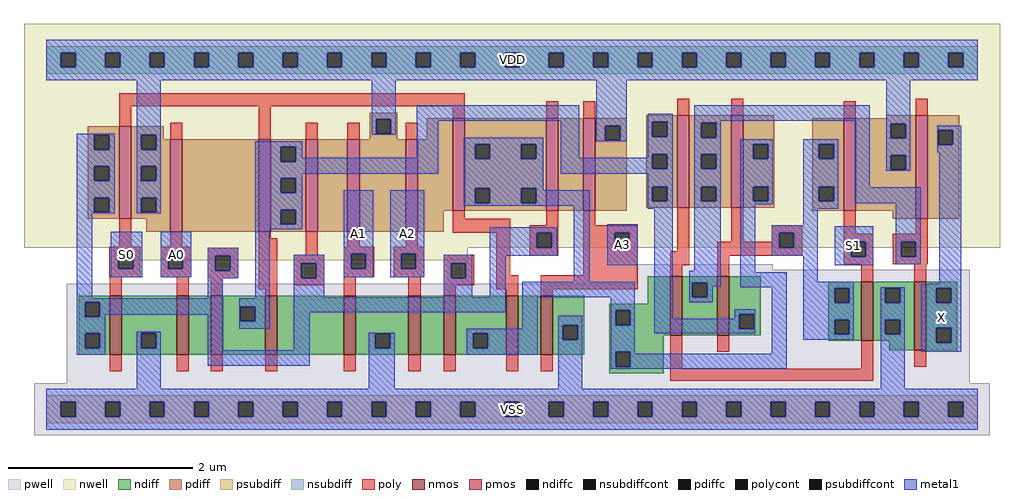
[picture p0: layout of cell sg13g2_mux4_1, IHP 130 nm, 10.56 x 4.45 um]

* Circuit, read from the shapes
.subckt sg13g2_mux4_1 X A1 A2 S0 VDD VSS S1 A0 A3
XM1 VSS S0 n1 VSS sg13_lv_nmos w=0.64u l=0.13u
XM2 n2 A0 VSS VSS sg13_lv_nmos w=0.64u l=0.13u
XM3 n3 n1 n2 VSS sg13_lv_nmos w=0.64u l=0.13u
XM4 n4 S0 n3 VSS sg13_lv_nmos w=0.64u l=0.13u
XM5 VSS A1 n4 VSS sg13_lv_nmos w=0.64u l=0.13u
XM6 n5 A2 VSS VSS sg13_lv_nmos w=0.64u l=0.13u
XM7 n6 n1 n5 VSS sg13_lv_nmos w=0.64u l=0.13u
XM8 n7 S0 n6 VSS sg13_lv_nmos w=0.64u l=0.13u
XM9 VSS A3 n7 VSS sg13_lv_nmos w=0.64u l=0.13u
XM10 n8 S1 n6 VSS sg13_lv_nmos w=0.64u l=0.13u
XM11 n3 n9 n8 VSS sg13_lv_nmos w=0.64u l=0.13u
XM12 VSS S1 n9 VSS sg13_lv_nmos w=0.64u l=0.13u
XM13 X n8 VSS VSS sg13_lv_nmos w=0.74u l=0.13u
XM14 VDD S0 n1 VDD sg13_lv_pmos w=1u l=0.13u
XM15 n10 A0 VDD VDD sg13_lv_pmos w=1u l=0.13u
XM16 n3 S0 n10 VDD sg13_lv_pmos w=1u l=0.13u
XM17 n11 n1 n3 VDD sg13_lv_pmos w=1u l=0.13u
XM18 VDD A1 n11 VDD sg13_lv_pmos w=1u l=0.13u
XM19 n12 A2 VDD VDD sg13_lv_pmos w=1u l=0.13u
XM20 n6 S0 n12 VDD sg13_lv_pmos w=1u l=0.13u
XM21 n13 n1 n6 VDD sg13_lv_pmos w=1u l=0.13u
XM22 VDD A3 n13 VDD sg13_lv_pmos w=1u l=0.13u
XM23 n8 S1 n3 VDD sg13_lv_pmos w=1u l=0.13u
XM24 n6 n9 n8 VDD sg13_lv_pmos w=1u l=0.13u
XM25 VDD S1 n9 VDD sg13_lv_pmos w=1u l=0.13u
XM26 X n8 VDD VDD sg13_lv_pmos w=1.12u l=0.13u
.ends

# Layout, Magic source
magic
tech ihp-sg13g2
<< nwell >>
rect -24 175 1032 417
rect 74 161 456 175
<< pwell >>
rect 638 151 786 157
rect 638 136 999 151
rect 22 28 999 136
rect -13 -28 1021 28
<< nmos >>
rect 69 59 82 123
rect 141 59 154 123
rect 178 59 191 123
rect 237 59 250 123
rect 322 59 335 123
rect 392 59 405 123
rect 430 59 443 123
rect 498 59 511 123
rect 535 59 548 123
rect 675 80 688 144
rect 726 80 739 144
rect 882 74 895 138
rect 939 64 952 138
<< pmos >>
rect 79 206 92 306
rect 134 192 147 292
rect 230 192 243 292
rect 281 192 294 292
rect 326 192 339 292
rect 389 192 402 292
rect 440 215 453 315
rect 541 215 554 315
rect 581 215 594 315
rect 683 218 696 318
rect 741 218 754 318
rect 863 215 876 315
rect 941 206 954 318
<< ndiff >>
rect 35 116 69 123
rect 35 100 42 116
rect 58 100 69 116
rect 35 82 69 100
rect 35 66 42 82
rect 58 66 69 82
rect 35 59 69 66
rect 82 82 141 123
rect 82 66 103 82
rect 119 66 141 82
rect 82 59 141 66
rect 154 59 178 123
rect 191 111 237 123
rect 191 95 210 111
rect 226 95 237 111
rect 191 59 237 95
rect 250 59 322 123
rect 335 82 392 123
rect 335 66 356 82
rect 372 66 392 82
rect 335 59 392 66
rect 405 59 430 123
rect 443 82 498 123
rect 443 66 462 82
rect 478 66 498 82
rect 443 59 498 66
rect 511 59 535 123
rect 548 91 582 123
rect 651 114 675 144
rect 548 75 559 91
rect 575 75 582 91
rect 548 59 582 75
rect 609 107 675 114
rect 609 91 616 107
rect 632 91 675 107
rect 609 80 675 91
rect 688 137 726 144
rect 688 121 699 137
rect 715 121 726 137
rect 688 80 726 121
rect 739 103 773 144
rect 739 87 750 103
rect 766 87 773 103
rect 739 80 773 87
rect 846 131 882 138
rect 846 115 853 131
rect 869 115 882 131
rect 846 97 882 115
rect 846 81 853 97
rect 869 81 882 97
rect 609 62 668 80
rect 609 46 616 62
rect 632 46 668 62
rect 609 39 668 46
rect 846 74 882 81
rect 895 131 939 138
rect 895 115 908 131
rect 924 115 939 131
rect 895 97 939 115
rect 895 81 908 97
rect 924 81 939 97
rect 895 74 939 81
rect 912 64 939 74
rect 952 131 986 138
rect 952 115 963 131
rect 979 115 986 131
rect 952 88 986 115
rect 952 72 963 88
rect 979 72 986 88
rect 952 64 986 72
<< pdiff >>
rect 45 297 79 306
rect 45 281 52 297
rect 68 281 79 297
rect 45 263 79 281
rect 45 247 52 263
rect 68 247 79 263
rect 45 229 79 247
rect 45 213 52 229
rect 68 213 79 229
rect 45 206 79 213
rect 92 297 127 306
rect 92 281 103 297
rect 119 292 127 297
rect 350 314 380 321
rect 350 298 357 314
rect 373 298 380 314
rect 350 292 380 298
rect 412 292 440 315
rect 119 281 134 292
rect 92 263 134 281
rect 92 247 103 263
rect 119 247 134 263
rect 92 229 134 247
rect 92 213 103 229
rect 119 213 134 229
rect 92 206 134 213
rect 108 192 134 206
rect 147 192 230 292
rect 243 284 281 292
rect 243 268 254 284
rect 270 268 281 284
rect 243 250 281 268
rect 243 234 254 250
rect 270 234 281 250
rect 243 216 281 234
rect 243 200 254 216
rect 270 200 281 216
rect 243 192 281 200
rect 294 192 326 292
rect 339 192 389 292
rect 402 215 440 292
rect 453 287 541 315
rect 453 271 464 287
rect 480 271 514 287
rect 530 271 541 287
rect 453 239 541 271
rect 453 223 464 239
rect 480 223 514 239
rect 530 223 541 239
rect 453 215 541 223
rect 554 215 581 315
rect 594 307 628 315
rect 594 291 605 307
rect 621 291 628 307
rect 594 215 628 291
rect 649 311 683 318
rect 649 295 656 311
rect 672 295 683 311
rect 649 276 683 295
rect 649 260 656 276
rect 672 260 683 276
rect 649 241 683 260
rect 649 225 656 241
rect 672 225 683 241
rect 649 218 683 225
rect 696 310 741 318
rect 696 294 709 310
rect 725 294 741 310
rect 696 276 741 294
rect 696 260 709 276
rect 725 260 741 276
rect 696 241 741 260
rect 696 225 709 241
rect 725 225 741 241
rect 696 218 741 225
rect 754 287 788 318
rect 909 315 941 318
rect 754 271 765 287
rect 781 271 788 287
rect 754 241 788 271
rect 754 225 765 241
rect 781 225 788 241
rect 754 218 788 225
rect 829 287 863 315
rect 829 271 836 287
rect 852 271 863 287
rect 829 241 863 271
rect 829 225 836 241
rect 852 225 863 241
rect 402 192 430 215
rect 829 215 863 225
rect 876 309 941 315
rect 876 293 914 309
rect 930 293 941 309
rect 876 275 941 293
rect 876 259 914 275
rect 930 259 941 275
rect 876 215 941 259
rect 916 206 941 215
rect 954 302 988 318
rect 954 286 965 302
rect 981 286 988 302
rect 954 206 988 286
<< ndiffc >>
rect 42 100 58 116
rect 42 66 58 82
rect 103 66 119 82
rect 210 95 226 111
rect 356 66 372 82
rect 462 66 478 82
rect 559 75 575 91
rect 616 91 632 107
rect 699 121 715 137
rect 750 87 766 103
rect 853 115 869 131
rect 853 81 869 97
rect 616 46 632 62
rect 908 115 924 131
rect 908 81 924 97
rect 963 115 979 131
rect 963 72 979 88
<< pdiffc >>
rect 52 281 68 297
rect 52 247 68 263
rect 52 213 68 229
rect 103 281 119 297
rect 357 298 373 314
rect 103 247 119 263
rect 103 213 119 229
rect 254 268 270 284
rect 254 234 270 250
rect 254 200 270 216
rect 464 271 480 287
rect 514 271 530 287
rect 464 223 480 239
rect 514 223 530 239
rect 605 291 621 307
rect 656 295 672 311
rect 656 260 672 276
rect 656 225 672 241
rect 709 294 725 310
rect 709 260 725 276
rect 709 225 725 241
rect 765 271 781 287
rect 765 225 781 241
rect 836 271 852 287
rect 836 225 852 241
rect 914 293 930 309
rect 914 259 930 275
rect 965 286 981 302
<< psubdiff >>
rect 0 8 1008 15
rect 0 -8 16 8
rect 32 -8 64 8
rect 80 -8 112 8
rect 128 -8 160 8
rect 176 -8 208 8
rect 224 -8 256 8
rect 272 -8 304 8
rect 320 -8 352 8
rect 368 -8 400 8
rect 416 -8 448 8
rect 464 -8 496 8
rect 512 -8 544 8
rect 560 -8 592 8
rect 608 -8 640 8
rect 656 -8 688 8
rect 704 -8 736 8
rect 752 -8 784 8
rect 800 -8 832 8
rect 848 -8 880 8
rect 896 -8 928 8
rect 944 -8 976 8
rect 992 -8 1008 8
rect 0 -15 1008 -8
<< nsubdiff >>
rect 0 386 1008 393
rect 0 370 16 386
rect 32 370 64 386
rect 80 370 112 386
rect 128 370 160 386
rect 176 370 208 386
rect 224 370 256 386
rect 272 370 304 386
rect 320 370 352 386
rect 368 370 400 386
rect 416 370 448 386
rect 464 370 496 386
rect 512 370 544 386
rect 560 370 592 386
rect 608 370 640 386
rect 656 370 688 386
rect 704 370 736 386
rect 752 370 784 386
rect 800 370 832 386
rect 848 370 880 386
rect 896 370 928 386
rect 944 370 976 386
rect 992 370 1008 386
rect 0 363 1008 370
<< psubdiffcont >>
rect 16 -8 32 8
rect 64 -8 80 8
rect 112 -8 128 8
rect 160 -8 176 8
rect 208 -8 224 8
rect 256 -8 272 8
rect 304 -8 320 8
rect 352 -8 368 8
rect 400 -8 416 8
rect 448 -8 464 8
rect 496 -8 512 8
rect 544 -8 560 8
rect 592 -8 608 8
rect 640 -8 656 8
rect 688 -8 704 8
rect 736 -8 752 8
rect 784 -8 800 8
rect 832 -8 848 8
rect 880 -8 896 8
rect 928 -8 944 8
rect 976 -8 992 8
<< nsubdiffcont >>
rect 16 370 32 386
rect 64 370 80 386
rect 112 370 128 386
rect 160 370 176 386
rect 208 370 224 386
rect 256 370 272 386
rect 304 370 320 386
rect 352 370 368 386
rect 400 370 416 386
rect 448 370 464 386
rect 496 370 512 386
rect 544 370 560 386
rect 592 370 608 386
rect 640 370 656 386
rect 688 370 704 386
rect 736 370 752 386
rect 784 370 800 386
rect 832 370 848 386
rect 880 370 896 386
rect 928 370 944 386
rect 976 370 992 386
<< poly >>
rect 79 328 453 342
rect 79 306 92 328
rect 134 292 147 310
rect 230 292 243 328
rect 440 315 453 328
rect 541 315 554 333
rect 581 315 594 333
rect 683 318 696 336
rect 741 318 754 336
rect 281 292 294 310
rect 326 292 339 310
rect 389 292 402 310
rect 79 176 92 206
rect 863 315 876 333
rect 941 318 954 336
rect 440 206 453 215
rect 134 176 147 192
rect 230 185 243 192
rect 68 168 102 176
rect 68 152 78 168
rect 94 152 102 168
rect 68 143 102 152
rect 124 168 157 176
rect 124 152 132 168
rect 148 152 157 168
rect 124 143 157 152
rect 175 166 208 175
rect 175 150 183 166
rect 199 150 208 166
rect 69 123 82 143
rect 141 123 154 143
rect 175 142 208 150
rect 178 123 191 142
rect 230 130 250 185
rect 281 167 294 192
rect 326 176 339 192
rect 389 176 402 192
rect 440 191 502 206
rect 541 199 554 215
rect 322 168 355 176
rect 268 158 301 167
rect 268 142 276 158
rect 292 142 301 158
rect 268 134 301 142
rect 322 152 330 168
rect 346 152 355 168
rect 322 143 355 152
rect 376 168 409 176
rect 376 152 384 168
rect 400 152 409 168
rect 376 143 409 152
rect 430 158 463 167
rect 237 123 250 130
rect 322 123 335 143
rect 392 123 405 143
rect 430 142 438 158
rect 454 142 463 158
rect 430 134 463 142
rect 487 145 502 191
rect 523 191 554 199
rect 523 175 531 191
rect 547 175 554 191
rect 523 166 554 175
rect 581 199 594 215
rect 581 191 640 199
rect 581 175 615 191
rect 631 175 640 191
rect 581 145 640 175
rect 683 171 696 218
rect 741 181 754 218
rect 785 191 818 199
rect 785 181 793 191
rect 430 123 443 134
rect 487 130 511 145
rect 498 123 511 130
rect 535 130 640 145
rect 675 156 696 171
rect 726 175 793 181
rect 809 175 818 191
rect 726 166 818 175
rect 863 190 876 215
rect 941 190 954 206
rect 863 181 895 190
rect 675 144 688 156
rect 726 144 739 166
rect 863 165 871 181
rect 887 165 895 181
rect 863 157 895 165
rect 916 181 954 190
rect 916 165 925 181
rect 941 165 954 181
rect 916 157 954 165
rect 535 123 548 130
rect 882 138 895 157
rect 939 138 952 157
rect 69 41 82 59
rect 141 41 154 59
rect 178 41 191 59
rect 237 41 250 59
rect 322 41 335 59
rect 392 41 405 59
rect 430 41 443 59
rect 498 41 511 59
rect 535 41 548 59
rect 675 44 688 80
rect 726 62 739 80
rect 882 44 895 74
rect 939 46 952 64
rect 675 31 895 44
<< polycont >>
rect 78 152 94 168
rect 132 152 148 168
rect 183 150 199 166
rect 276 142 292 158
rect 330 152 346 168
rect 384 152 400 168
rect 438 142 454 158
rect 531 175 547 191
rect 615 175 631 191
rect 793 175 809 191
rect 871 165 887 181
rect 925 165 941 181
<< metal1 >>
rect 0 386 1008 400
rect 0 370 16 386
rect 32 370 64 386
rect 80 370 112 386
rect 128 370 160 386
rect 176 370 208 386
rect 224 370 256 386
rect 272 370 304 386
rect 320 370 352 386
rect 368 370 400 386
rect 416 370 448 386
rect 464 370 496 386
rect 512 370 544 386
rect 560 370 592 386
rect 608 370 640 386
rect 656 370 688 386
rect 704 370 736 386
rect 752 370 784 386
rect 800 370 832 386
rect 848 370 880 386
rect 896 370 928 386
rect 944 370 976 386
rect 992 370 1008 386
rect 0 356 1008 370
rect 33 297 74 298
rect 33 281 52 297
rect 68 281 74 297
rect 33 263 74 281
rect 33 247 52 263
rect 68 247 74 263
rect 33 229 74 247
rect 33 213 52 229
rect 68 213 74 229
rect 33 212 74 213
rect 98 297 124 356
rect 352 314 378 356
rect 352 298 357 314
rect 373 298 378 314
rect 352 297 378 298
rect 401 312 577 329
rect 98 281 103 297
rect 119 281 124 297
rect 98 263 124 281
rect 98 247 103 263
rect 119 247 124 263
rect 98 229 124 247
rect 98 213 103 229
rect 119 213 124 229
rect 98 212 124 213
rect 226 284 277 290
rect 226 268 254 284
rect 270 272 277 284
rect 401 272 424 312
rect 270 268 424 272
rect 226 255 424 268
rect 452 287 538 294
rect 452 271 464 287
rect 480 271 514 287
rect 530 271 538 287
rect 226 250 277 255
rect 226 234 254 250
rect 270 234 277 250
rect 452 239 538 271
rect 557 272 577 312
rect 595 307 628 356
rect 595 291 605 307
rect 621 291 628 307
rect 595 290 628 291
rect 651 311 678 320
rect 651 295 656 311
rect 672 295 678 311
rect 651 276 678 295
rect 651 272 656 276
rect 557 260 656 272
rect 672 260 678 276
rect 557 255 678 260
rect 226 216 277 234
rect 33 120 50 212
rect 226 200 254 216
rect 270 200 277 216
rect 226 195 277 200
rect 70 168 104 192
rect 70 152 78 168
rect 94 152 104 168
rect 70 143 104 152
rect 124 168 157 192
rect 124 152 132 168
rect 148 152 157 168
rect 124 143 157 152
rect 175 166 208 175
rect 175 150 183 166
rect 199 150 208 166
rect 175 142 208 150
rect 175 120 191 142
rect 226 120 242 195
rect 322 168 354 237
rect 33 116 191 120
rect 33 100 42 116
rect 58 102 191 116
rect 58 100 64 102
rect 33 82 64 100
rect 33 66 42 82
rect 58 66 64 82
rect 33 59 64 66
rect 98 82 124 84
rect 98 66 103 82
rect 119 66 124 82
rect 98 22 124 66
rect 175 64 191 102
rect 209 111 242 120
rect 209 95 210 111
rect 226 95 242 111
rect 209 87 242 95
rect 268 158 301 167
rect 268 142 276 158
rect 292 142 301 158
rect 322 152 330 168
rect 346 152 354 168
rect 322 143 354 152
rect 372 168 409 237
rect 452 223 464 239
rect 480 223 514 239
rect 530 237 538 239
rect 651 241 678 255
rect 530 223 588 237
rect 452 220 588 223
rect 372 152 384 168
rect 400 152 409 168
rect 480 191 553 197
rect 480 175 531 191
rect 547 175 553 191
rect 372 143 409 152
rect 430 158 461 167
rect 268 121 301 142
rect 430 142 438 158
rect 454 142 461 158
rect 430 121 461 142
rect 480 166 553 175
rect 480 121 497 166
rect 571 138 588 220
rect 651 225 656 241
rect 672 225 678 241
rect 651 217 678 225
rect 607 191 640 200
rect 607 175 615 191
rect 631 175 640 191
rect 607 156 640 175
rect 268 105 497 121
rect 515 121 637 138
rect 268 64 285 105
rect 515 87 532 121
rect 611 107 637 121
rect 175 47 285 64
rect 349 82 377 83
rect 349 66 356 82
rect 372 66 377 82
rect 349 22 377 66
rect 455 82 532 87
rect 455 66 462 82
rect 478 66 532 82
rect 455 59 532 66
rect 554 91 580 101
rect 554 75 559 91
rect 575 75 580 91
rect 554 22 580 75
rect 611 91 616 107
rect 632 91 637 107
rect 611 62 637 91
rect 658 98 678 217
rect 701 312 891 329
rect 701 310 730 312
rect 701 294 709 310
rect 725 294 730 310
rect 701 276 730 294
rect 701 260 709 276
rect 725 260 730 276
rect 701 241 730 260
rect 701 225 709 241
rect 725 225 730 241
rect 701 150 730 225
rect 696 137 730 150
rect 696 121 699 137
rect 715 133 730 137
rect 751 287 786 292
rect 751 271 765 287
rect 781 271 786 287
rect 751 241 786 271
rect 751 225 765 241
rect 781 225 786 241
rect 751 222 786 225
rect 819 287 857 292
rect 819 271 836 287
rect 852 271 857 287
rect 819 241 857 271
rect 819 225 836 241
rect 852 225 857 241
rect 751 148 767 222
rect 819 217 857 225
rect 875 240 891 312
rect 909 309 935 356
rect 909 293 914 309
rect 930 293 935 309
rect 909 275 935 293
rect 964 302 990 307
rect 964 286 965 302
rect 981 286 990 302
rect 964 278 990 286
rect 909 259 914 275
rect 930 259 935 275
rect 909 258 935 259
rect 875 223 946 240
rect 819 199 835 217
rect 785 191 835 199
rect 785 175 793 191
rect 809 175 835 191
rect 785 166 835 175
rect 715 121 721 133
rect 751 132 801 148
rect 696 116 721 121
rect 745 103 767 108
rect 745 98 750 103
rect 658 87 750 98
rect 766 87 767 103
rect 658 82 767 87
rect 611 46 616 62
rect 632 60 637 62
rect 785 60 801 132
rect 819 138 835 166
rect 853 181 895 198
rect 853 165 871 181
rect 887 165 895 181
rect 853 156 895 165
rect 919 181 946 223
rect 919 165 925 181
rect 941 165 946 181
rect 919 157 946 165
rect 819 131 874 138
rect 966 136 990 278
rect 819 115 853 131
rect 869 115 874 131
rect 819 97 874 115
rect 819 81 853 97
rect 869 81 874 97
rect 819 75 874 81
rect 903 131 929 132
rect 903 115 908 131
rect 924 115 929 131
rect 903 97 929 115
rect 903 81 908 97
rect 924 81 929 97
rect 632 46 801 60
rect 611 44 801 46
rect 903 22 929 81
rect 947 131 990 136
rect 947 115 963 131
rect 979 115 990 131
rect 947 88 990 115
rect 947 72 963 88
rect 979 72 990 88
rect 947 62 990 72
rect 0 8 1008 22
rect 0 -8 16 8
rect 32 -8 64 8
rect 80 -8 112 8
rect 128 -8 160 8
rect 176 -8 208 8
rect 224 -8 256 8
rect 272 -8 304 8
rect 320 -8 352 8
rect 368 -8 400 8
rect 416 -8 448 8
rect 464 -8 496 8
rect 512 -8 544 8
rect 560 -8 592 8
rect 608 -8 640 8
rect 656 -8 688 8
rect 704 -8 736 8
rect 752 -8 784 8
rect 800 -8 832 8
rect 848 -8 880 8
rect 896 -8 928 8
rect 944 -8 976 8
rect 992 -8 1008 8
rect 0 -22 1008 -8
<< labels >>
flabel metal1 s 947 62 990 136 0 FreeSans 200 0 0 0 X
port 2 nsew
flabel metal1 s 322 143 354 237 0 FreeSans 200 0 0 0 A1
port 3 nsew
flabel metal1 s 372 143 409 237 0 FreeSans 200 0 0 0 A2
port 4 nsew
flabel metal1 s 70 143 104 192 0 FreeSans 200 0 0 0 S0
port 5 nsew
flabel metal1 s 0 356 1008 400 0 FreeSans 200 0 0 0 VDD
port 6 nsew
flabel metal1 s 0 -22 1008 22 0 FreeSans 200 0 0 0 VSS
port 7 nsew
flabel metal1 s 853 156 895 198 0 FreeSans 200 0 0 0 S1
port 8 nsew
flabel metal1 s 124 143 157 192 0 FreeSans 200 0 0 0 A0
port 9 nsew
flabel metal1 s 607 156 640 200 0 FreeSans 200 0 0 0 A3
port 10 nsew
<< properties >>
string FIXED_BBOX 0 0 1008 378
string GDS_END 171634
string GDS_FILE ../gds/controller.gds
string GDS_START 159636
<< end >>
